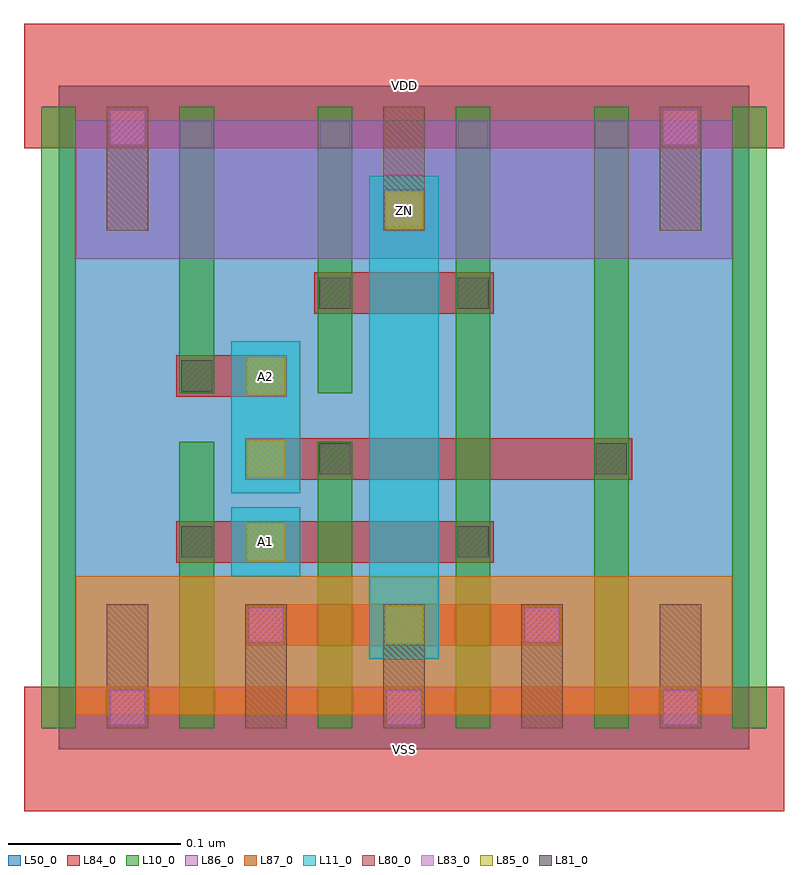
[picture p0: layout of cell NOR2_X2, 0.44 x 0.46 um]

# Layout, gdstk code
import gdstk
lib = gdstk.Library(unit=1e-6, precision=1e-09)
def R(c, l, rs):  # rectangles x0, y0, x1, y1
    for r in rs: c.add(gdstk.rectangle(r[:2], r[2:], *l))
def A(c, l, x, y, w, h, nx, ny, dx, dy):  # array of equal rectangles
    R(c, l, [(x+i*dx, y+j*dy, x+i*dx+w, y+j*dy+h) for i in range(nx) for j in range(ny)])
L10_0 = (10, 0)
L11_0 = (11, 0)
L50_0 = (50, 0)
L80_0 = (80, 0)
L81_0 = (81, 0)
L83_0 = (83, 0)
L84_0 = (84, 0)
L85_0 = (85, 0)
L86_0 = (86, 0)
L87_0 = (87, 0)

nor2_x2 = lib.new_cell('NOR2_X2')
A(nor2_x2, L10_0, 0.23, 0.012, 0.02, 0.36, 3, 1, 0.08, 0)
R(nor2_x2, L10_0, [(-0.01,0.012,0.01,0.372), (0.07,0.012,0.09,0.178), (0.15,0.012,0.17,0.178), (0.07,0.206,0.09,0.372), (0.15,0.206,0.17,0.372)])
R(nor2_x2, L11_0, [(0.18,0.052,0.22,0.332), (0.1,0.1,0.14,0.14), (0.1,0.148,0.14,0.236)])
R(nor2_x2, L50_0, [(0,0,0.4,0.384)])
A(nor2_x2, L80_0, 0.028, 0.012, 0.024, 0.072, 5, 1, 0.08, 0)
A(nor2_x2, L80_0, 0.028, 0.3, 0.024, 0.072, 3, 1, 0.16, 0)
R(nor2_x2, L81_0, [(0.071,0.111,0.089,0.129), (0.231,0.111,0.249,0.129), (0.151,0.159,0.169,0.177), (0.311,0.159,0.329,0.177), (0.071,0.207,0.089,0.225), (0.151,0.255,0.169,0.273), (0.231,0.255,0.249,0.273)])
A(nor2_x2, L83_0, 0.03, 0.014, 0.02, 0.02, 3, 1, 0.16, 0)
R(nor2_x2, L83_0, [(0.11,0.062,0.13,0.082), (0.27,0.062,0.29,0.082), (0.19,0.302,0.21,0.322), (0.03,0.35,0.05,0.37), (0.35,0.35,0.37,0.37)])
R(nor2_x2, L84_0, [(-0.02,-0.036,0.42,0.036), (0.108,0.06,0.292,0.084), (0.068,0.108,0.252,0.132), (0.108,0.156,0.332,0.18), (0.068,0.204,0.132,0.228), (0.148,0.252,0.252,0.276), (0.188,0.3,0.212,0.324), (-0.02,0.348,0.42,0.42)])
A(nor2_x2, L85_0, 0.109, 0.109, 0.022, 0.022, 1, 3, 0, 0.048)
R(nor2_x2, L85_0, [(0.189,0.061,0.211,0.083), (0.189,0.301,0.211,0.323)])
R(nor2_x2, L86_0, [(0.01,0.284,0.39,0.364)])
R(nor2_x2, L87_0, [(0.01,0.02,0.39,0.1)])
nor2_x2.add(gdstk.Label('VDD', (0.2,0.384), layer=88, texttype=0))
nor2_x2.add(gdstk.Label('VSS', (0.2,0), layer=88, texttype=0))
nor2_x2.add(gdstk.Label('A2', (0.12,0.216), layer=31, texttype=0))
nor2_x2.add(gdstk.Label('ZN', (0.2,0.312), layer=31, texttype=0))
nor2_x2.add(gdstk.Label('A1', (0.12,0.12), layer=31, texttype=0))

lib.write_gds('NOR2_X2.gds')
